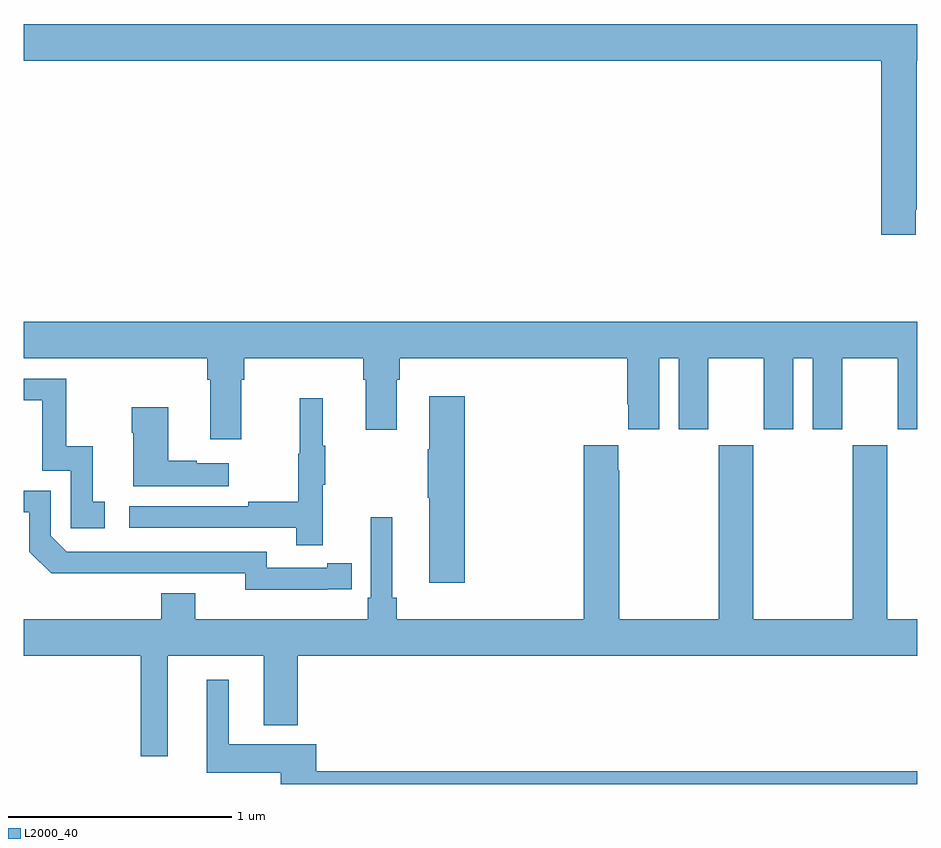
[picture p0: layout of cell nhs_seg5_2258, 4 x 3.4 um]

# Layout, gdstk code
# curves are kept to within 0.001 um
import gdstk
lib = gdstk.Library(unit=1e-6, precision=1e-09)
def P(c, l, *ps):  # polygons
    for p in ps: c.add(gdstk.Polygon(p, *l))
L2000_40 = (2000, 40)

nhs_seg5_2258 = lib.new_cell('nhs_seg5_2258')
P(nhs_seg5_2258, L2000_40, [(244.993,913.369),(244.998,913.369),(244.998,914.036),(245,914.036),(245,914.2),(241,914.2),(241,914.036),(244.838,914.036),(244.838,913.257),(244.993,913.257)],
  [(241.975,912.608),(241.988,912.608),(241.988,912.704),(242.519,912.704),(242.519,912.608),(242.531,912.608),(242.531,912.384),(242.671,912.384),(242.671,912.608),(242.684,912.608),(242.684,912.704),(243.701,912.704),(243.701,912.499),(243.707,912.499),(243.707,912.387),(243.844,912.387),(243.844,912.704),(243.932,912.704),(243.932,912.387),(244.063,912.387),(244.063,912.704),(244.313,912.704),(244.313,912.387),(244.444,912.387),(244.444,912.704),(244.532,912.704),(244.532,912.387),(244.663,912.387),(244.663,912.704),(244.913,912.704),(244.913,912.387),(245,912.387),(245,912.868),(241,912.868),(241,912.704),(241.823,912.704),(241.823,912.608),(241.835,912.608),(241.835,912.342),(241.975,912.342)],
  [(241.363,912.063),(241.31,912.063),(241.31,912.31),(241.192,912.31),(241.192,912.612),(241,912.612),(241,912.516),(241.083,912.516),(241.083,912.201),(241.212,912.201),(241.212,911.943),(241.363,911.943)],
  [(242.975,912.535),(242.816,912.535),(242.816,912.296),(242.809,912.296),(242.809,912.079),(242.816,912.079),(242.816,911.7),(242.975,911.7)],
  [(242.339,912.139),(242.35,912.139),(242.35,912.313),(242.339,912.313),(242.339,912.526),(242.236,912.526),(242.236,912.276),(242.229,912.276),(242.229,912.062),(242.005,912.062),(242.005,912.042),(241.473,912.042),(241.473,911.946),(242.221,911.946),(242.221,911.868),(242.339,911.868)],
  [(241.918,912.235),(241.775,912.235),(241.775,912.245),(241.648,912.245),(241.648,912.484),(241.483,912.484),(241.483,912.371),(241.49,912.371),(241.49,912.131),(241.918,912.131)],
  [(241.645,911.372),(242.075,911.372),(242.075,911.063),(242.228,911.063),(242.228,911.372),(245,911.372),(245,911.536),(244.866,911.536),(244.866,912.316),(244.711,912.316),(244.711,911.536),(244.266,911.536),(244.266,912.316),(244.111,912.316),(244.111,911.536),(243.666,911.536),(243.666,912.203),(243.661,912.203),(243.661,912.316),(243.506,912.316),(243.506,911.536),(242.669,911.536),(242.669,911.632),(242.65,911.632),(242.65,911.992),(242.553,911.992),(242.553,911.632),(242.54,911.632),(242.54,911.536),(241.768,911.536),(241.768,911.653),(241.616,911.653),(241.616,911.536),(241,911.536),(241,911.372),(241.524,911.372),(241.524,910.923),(241.645,910.923)],
  [(242.36,911.67),(242.468,911.67),(242.468,911.786),(242.36,911.786),(242.36,911.766),(242.088,911.766),(242.088,911.838),(241.194,911.838),(241.122,911.91),(241.122,912.111),(241,912.111),(241,912.015),(241.026,912.015),(241.026,911.838),(241.124,911.741),(241.992,911.742),(241.992,911.669)],
  [(245,910.856),(242.309,910.856),(242.309,910.978),(241.918,910.978),(241.918,911.266),(241.82,911.266),(241.82,910.85),(242.15,910.85),(242.15,910.799),(245,910.799)])

lib.write_gds('nhs_seg5_2258.gds')
